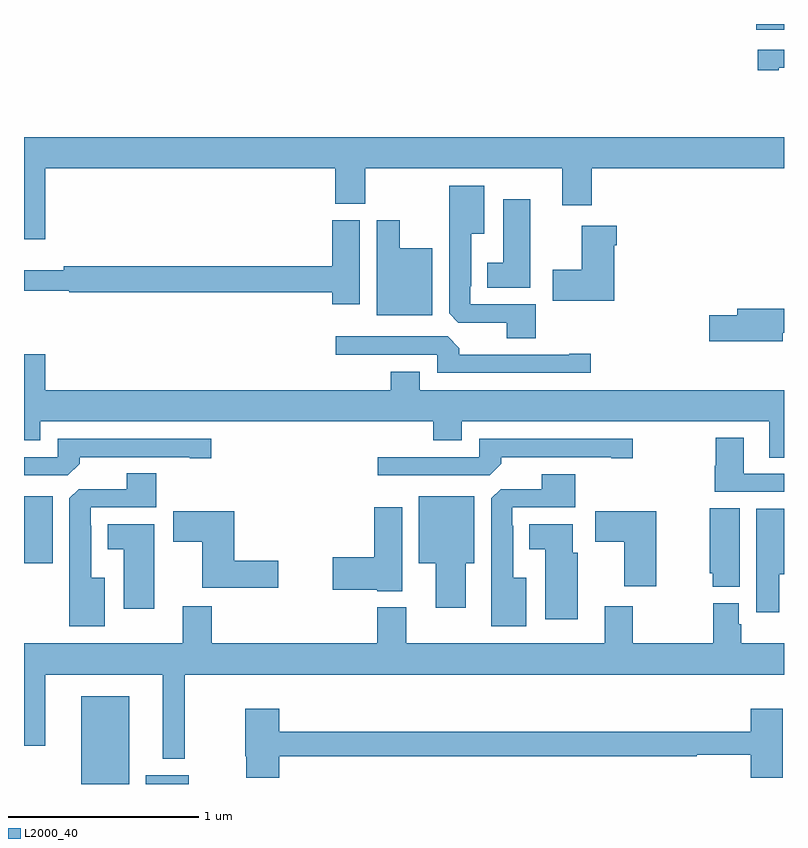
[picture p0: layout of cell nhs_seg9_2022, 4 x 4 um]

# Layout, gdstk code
import gdstk
lib = gdstk.Library(unit=1e-6, precision=1e-09)
def R(c, l, rs):  # rectangles x0, y0, x1, y1
    for r in rs: c.add(gdstk.rectangle(r[:2], r[2:], *l))
def P(c, l, *ps):  # polygons
    for p in ps: c.add(gdstk.Polygon(p, *l))
L2000_40 = (2000, 40)

nhs_seg9_2022 = lib.new_cell('nhs_seg9_2022')
R(nhs_seg9_2022, L2000_40, [(225.302,1206.5,225.553,1206.961), (225.641,1206.5,225.868,1206.547), (225,1207.661,225.151,1208.014), (228.854,1210.469,229,1210.5)])
P(nhs_seg9_2022, L2000_40, [(228.973,1210.269),(229,1210.269),(229,1210.365),(228.861,1210.365),(228.861,1210.257),(228.973,1210.257)],
  [(225.112,1209.74),(226.637,1209.74),(226.637,1209.553),(226.797,1209.553),(226.797,1209.74),(227.834,1209.74),(227.834,1209.546),(227.987,1209.546),(227.987,1209.74),(229,1209.74),(229,1209.904),(225,1209.904),(225,1209.366),(225.112,1209.366)],
  [(227.693,1209.024),(227.349,1209.024),(227.349,1209.121),(227.353,1209.121),(227.353,1209.395),(227.422,1209.395),(227.422,1209.649),(227.237,1209.649),(227.237,1208.977),(227.286,1208.928),(227.54,1208.928),(227.54,1208.845),(227.693,1208.845)],
  [(227.665,1209.577),(227.522,1209.577),(227.522,1209.244),(227.438,1209.244),(227.438,1209.113),(227.665,1209.113)],
  [(226.768,1209.468),(226.622,1209.468),(226.622,1209.224),(225.208,1209.224),(225.208,1209.205),(225,1209.205),(225,1209.096),(225.238,1209.096),(225.238,1209.088),(226.622,1209.088),(226.622,1209.024),(226.768,1209.024)],
  [(227.149,1209.319),(226.978,1209.319),(226.978,1209.466),(226.856,1209.466),(226.856,1208.966),(227.149,1208.966)],
  [(228.106,1209.335),(228.119,1209.335),(228.119,1209.439),(227.936,1209.439),(227.936,1209.207),(227.784,1209.207),(227.784,1209.044),(228.106,1209.044)],
  [(228.994,1208.874),(229,1208.874),(229,1209.002),(228.755,1209.002),(228.755,1208.966),(228.606,1208.966),(228.606,1208.831),(228.994,1208.831)],
  [(227.983,1208.765),(227.87,1208.765),(227.87,1208.76),(227.291,1208.76),(227.291,1208.794),(227.229,1208.856),(226.641,1208.856),(226.641,1208.76),(227.175,1208.76),(227.175,1208.664),(227.983,1208.664)],
  [(229,1208.572),(227.083,1208.572),(227.083,1208.671),(226.931,1208.671),(226.931,1208.572),(225.112,1208.572),(225.112,1208.761),(225,1208.761),(225,1208.309),(225.085,1208.309),(225.085,1208.408),(227.153,1208.408),(227.153,1208.309),(227.305,1208.309),(227.305,1208.408),(228.923,1208.408),(228.923,1208.218),(229,1208.218)],
  [(229,1208.133),(228.787,1208.133),(228.787,1208.323),(228.64,1208.323),(228.64,1208.175),(228.635,1208.175),(228.635,1208.037),(229,1208.037)],
  [(225.293,1208.186),(225.293,1208.22),(225.872,1208.22),(225.872,1208.215),(225.985,1208.215),(225.985,1208.316),(225.177,1208.316),(225.177,1208.22),(225,1208.22),(225,1208.124),(225.231,1208.124)],
  [(227.513,1208.186),(227.513,1208.22),(228.092,1208.22),(228.092,1208.215),(228.205,1208.215),(228.205,1208.316),(227.397,1208.316),(227.397,1208.22),(226.863,1208.22),(226.863,1208.124),(227.451,1208.124)],
  [(225.424,1207.585),(225.355,1207.585),(225.355,1207.859),(225.351,1207.859),(225.351,1207.956),(225.695,1207.956),(225.695,1208.135),(225.542,1208.135),(225.542,1208.052),(225.288,1208.052),(225.239,1208.003),(225.239,1207.331),(225.424,1207.331)],
  [(227.644,1207.585),(227.575,1207.585),(227.575,1207.859),(227.571,1207.859),(227.571,1207.956),(227.902,1207.956),(227.902,1208.131),(227.726,1208.131),(227.726,1208.052),(227.508,1208.052),(227.459,1208.003),(227.459,1207.331),(227.644,1207.331)],
  [(227.326,1207.661),(227.371,1207.661),(227.371,1208.014),(227.078,1208.014),(227.078,1207.661),(227.168,1207.661),(227.168,1207.428),(227.326,1207.428)],
  [(226.99,1207.957),(226.844,1207.957),(226.844,1207.694),(226.626,1207.694),(226.626,1207.523),(226.86,1207.523),(226.86,1207.514),(226.99,1207.514)],
  [(228.766,1207.952),(228.608,1207.952),(228.608,1207.608),(228.625,1207.608),(228.625,1207.537),(228.766,1207.537)],
  [(228.976,1207.604),(229,1207.604),(229,1207.948),(228.854,1207.948),(228.854,1207.404),(228.976,1207.404)],
  [(226.339,1207.676),(226.106,1207.676),(226.106,1207.936),(225.786,1207.936),(225.786,1207.774),(225.938,1207.774),(225.938,1207.534),(226.339,1207.534)],
  [(228.328,1207.936),(228.006,1207.936),(228.006,1207.774),(228.158,1207.774),(228.158,1207.541),(228.328,1207.541)],
  [(225.685,1207.867),(225.44,1207.867),(225.44,1207.736),(225.524,1207.736),(225.524,1207.422),(225.685,1207.422)],
  [(227.914,1207.716),(227.887,1207.716),(227.887,1207.867),(227.66,1207.867),(227.66,1207.736),(227.744,1207.736),(227.744,1207.368),(227.914,1207.368)],
  [(225.845,1207.076),(229,1207.076),(229,1207.24),(228.776,1207.24),(228.776,1207.341),(228.763,1207.341),(228.763,1207.452),(228.628,1207.452),(228.628,1207.24),(228.204,1207.24),(228.204,1207.435),(228.056,1207.435),(228.056,1207.24),(227.011,1207.24),(227.011,1207.429),(226.859,1207.429),(226.859,1207.24),(225.989,1207.24),(225.989,1207.435),(225.836,1207.435),(225.836,1207.24),(225,1207.24),(225,1206.702),(225.112,1206.702),(225.112,1207.076),(225.731,1207.076),(225.731,1206.632),(225.845,1206.632)],
  [(226.343,1206.646),(228.54,1206.646),(228.54,1206.654),(228.824,1206.654),(228.824,1206.534),(228.994,1206.534),(228.994,1206.895),(228.824,1206.895),(228.824,1206.775),(226.343,1206.775),(226.343,1206.895),(226.165,1206.895),(226.165,1206.646),(226.17,1206.646),(226.17,1206.534),(226.343,1206.534)])

lib.write_gds('nhs_seg9_2022.gds')
